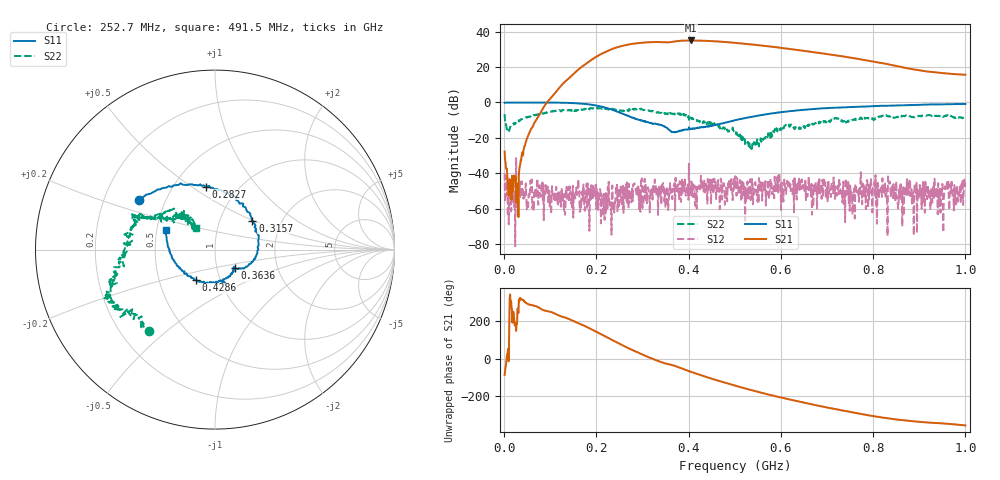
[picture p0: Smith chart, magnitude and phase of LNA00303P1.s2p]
! Created with skrf 1.9.0 (http://scikit-rf.org).
# Hz S RI R 50.0
!freq ReS11 ImS11 ReS21 ImS21 ReS12 ImS12 ReS22 ImS22
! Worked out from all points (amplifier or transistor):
!   1001 points, 1 MHz to 1 GHz, reference 50 ohm
!   highest |S21| = 35.0 dB at 405.6 MHz (marker M1)
!   |S21| within 3 dB of that: 257.3 MHz to 563.1 MHz (305.8 MHz wide, 74.5 % of centre)
!   unconditionally stable (mu >= 1): start of sweep to 80.59 MHz; 297.3 MHz to 400.3 MHz; 401 MHz to end of sweep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
!   at 166.8 MHz: K = 4.34, MAG = 30.3 dB, |S12| = -59.5 dB
!   at 500.5 MHz: K = 1.27, MAG = 34.6 dB, |S12| = -41.7 dB
!   at 1 GHz: K = 2.50, MAG = 23.4 dB, |S12| = -44.7 dB
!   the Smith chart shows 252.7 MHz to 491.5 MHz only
!   S11 on the Smith chart (normalised r, x): 252.7 MHz: 0.35, +0.27; 282.7 MHz: 0.71, +0.57; 315.7 MHz: 1.43, +0.49; 363.6 MHz: 1.22, -0.26; 428.6 MHz: 0.76, -0.27; 491.5 MHz: 0.56, +0.13
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1000000  0.978 0.00783  0.00234 -0.041  -0.00769 0.00639  0.3563 0.305
1.07893e8  0.5129 -0.8534  -0.7801 -1.507  -0.00258 -0.000316  0.4314 -0.3789
1.67833e8  -0.2652 -0.8862  -10.08 -0.3826  -0.000738 -0.00294  0.0383 -0.6358
2.12788e8  -0.6956 -0.2937  -14.82 19.22  -7.6e-05 -0.00205  -0.2036 -0.6309
2.31769e8  -0.6386 0.0249  -6.961 30.55  0.000442 -0.00148  -0.2748 -0.5878
2.52748e8  -0.4233 0.2789  8.903 37.63  -0.00371 -0.00198  -0.3687 -0.4561
2.82718e8  -0.0504 0.3504  34.79 30.25  -0.00498 -0.00156  -0.5647 -0.2969
3.15685e8  0.2083 0.161  50.31 4.587  -0.000672 -0.00041  -0.5681 -0.1536
3.34666e8  0.2414 0.00248  49.68 -11.6  -0.000359 0.00305  -0.5076 -0.0502
3.63637e8  0.109 -0.1031  42.65 -28.64  -0.000982 0.00341  -0.4724 0.0985
3.8062e8  0.1023 -0.124  37.06 -41.05  0.00113 0.00591  -0.4487 0.1963
4.05595e8  0.0124 -0.1836  18.78 -53.26  0.00248 0.00531  -0.3067 0.186
4.28572e8  -0.1078 -0.1705  0.4207 -55.68  0.00482 0.00356  -0.2273 0.175
4.6054e8  -0.2306 -0.0601  -22.66 -48.15  0.00153 0.00314  -0.1401 0.1741
4.91509e8  -0.2712 0.1091  -36.58 -33.31  0.00136 -0.00266  -0.1082 0.1202
5.005e8  -0.2765 0.1557  -39.35 -28.4  7.53e-05 0.00824  -0.0723 0.1136
5.4046e8  -0.1745 0.3624  -42.39 -6.915  0.00225 -0.000938  -0.0689 0.00983
5.88412e8  0.0507 0.5064  -34.17 12.97  0.0033 -0.00345  -0.1307 -0.0863
6.67333e8  0.436 0.4807  -11.62 23.91  0.000639 -0.000239  -0.2351 -0.0473
7.51249e8  0.7011 0.249  4.704 17.85  -0.00171 0.00131  -0.3114 0.0372
8.34166e8  0.8099 -0.0312  8.975 7.787  -0.00297 -0.00433  -0.3951 0.0993
1e9  0.6971 -0.5801  6.085 0.3776  -0.00361 -0.00457  -0.1386 0.335
